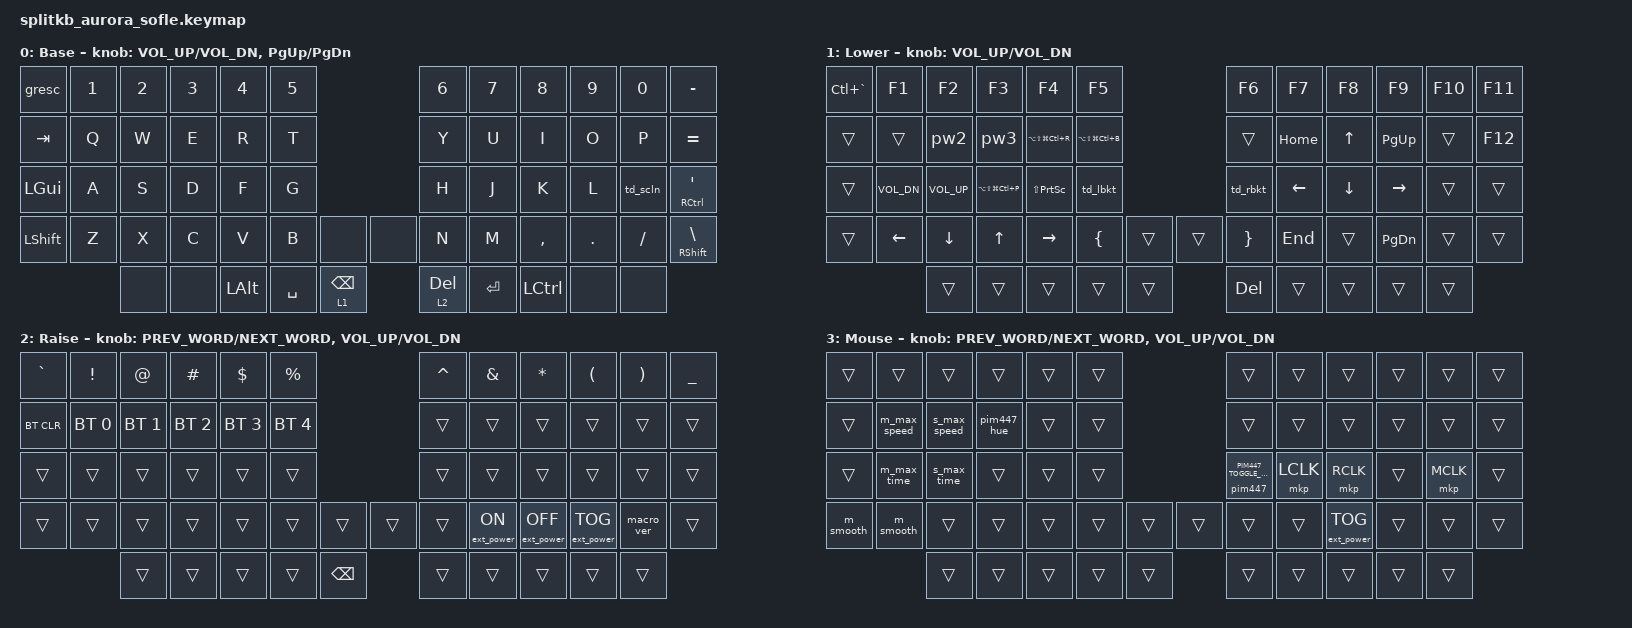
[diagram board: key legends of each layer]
/*
 * Copyright (c) 2023 The ZMK Contributors
 *
 * SPDX-License-Identifier: MIT
 */

#include <behaviors.dtsi>
#include <dt-bindings/zmk/keys.h>
#include <dt-bindings/zmk/bt.h>
#include <dt-bindings/zmk/ext_power.h>

// #include "mouse.dtsi"

#include <dt-bindings/zmk/mouse.h>

#include <behaviors/mouse_keys.dtsi>
#include <behaviors/mouse_move.dtsi>

#include <behaviors/behavior_pim447.dtsi>
#include <dt-bindings/behavior_pim447.h>

#include "pwmacro.dtsi"

#define TAPPING_TERM_MS 200 // how long a key must be pressed to trigger hold behavior.

&lt {
    tapping-term-ms = <TAPPING_TERM_MS>;
};

&mt {
    tapping-term-ms = <TAPPING_TERM_MS>;
    flavor = "tap-preferred";
};

#define F_TERM LC(GRAVE) // hotkey for terminal in vscode
#define PT_RUN LA(LS(LG(LC(R)))) // powertoys run
#define PT_TERM LA(LS(LG(LC(B)))) // boss key for terminal
#define BW_BOSS LA(LS(LG(LC(P)))) // boss key for bitwarden
#define SX_PRSC LS(PSCRN) // sharex printscreen
#define PREV_WORD LC(LEFT)
#define NEXT_WORD LC(RIGHT)

/ {
    behaviors {

        // no mods: escape 
        // shift: tilde (shift+grave)
        // gui/cmd/win: grave
        // when ctrl is pressed, just send escape


        gresc: grave_escape {
            compatible = "zmk,behavior-mod-morph";
            #binding-cells = <0>;
            bindings = <&kp ESC>, <&gresc_win_taskman>;
            mods = <(MOD_LGUI|MOD_LSFT|MOD_RGUI|MOD_RSFT)>;
            keep-mods = <(MOD_LSFT|MOD_RSFT)>;
        };

        gresc_win_taskman: grave_escape_windows_taskmanager {
            compatible = "zmk,behavior-mod-morph";
            #binding-cells = <0>;
            bindings = <&kp GRAVE>, <&kp ESC>;
            mods = <(MOD_LCTL|MOD_RCTL)>;
            keep-mods = <(MOD_LCTL|MOD_RCTL)>;
        };

        td_scln: td_semicolon_or_colon {
            compatible = "zmk,behavior-tap-dance";
            #binding-cells = <0>;
            tapping-term-ms = <TAPPING_TERM_MS>;
            bindings = <&kp SEMI>, <&kp COLON>;
        };

        td_lbkt: td_left_bracket_or_parenthesis {
            compatible = "zmk,behavior-tap-dance";
            #binding-cells = <0>;
            tapping-term-ms = <TAPPING_TERM_MS>;
            bindings = <&kp LBKT>, <&kp LPAR>;
        };

        td_rbkt: td_right_bracket_or_parenthesis {
            compatible = "zmk,behavior-tap-dance";
            #binding-cells = <0>;
            tapping-term-ms = <TAPPING_TERM_MS>;
            bindings = <&kp RBKT>, <&kp RPAR>;
        };

        // pimoroni trackball stuff
        m_max_speed: pim447_mouse_max_speed {
            compatible = "zmk,behavior-mod-morph";
            #binding-cells = <0>;
            bindings = <&pim447 PIM447_MOUSE_INC_MAX_SPEED>, <&pim447 PIM447_MOUSE_DEC_MAX_SPEED>;
            mods = <(MOD_LSFT)>;
        };

        s_max_speed: pim447_scroll_max_speed {
            compatible = "zmk,behavior-mod-morph";
            #binding-cells = <0>;
            bindings = <&pim447 PIM447_SCROLL_INC_MAX_SPEED>, <&pim447 PIM447_SCROLL_DEC_MAX_SPEED>;
            mods = <(MOD_LSFT)>;
        };

        m_max_time: pim447_mouse_max_time {
            compatible = "zmk,behavior-mod-morph";
            #binding-cells = <0>;
            bindings = <&pim447 PIM447_MOUSE_INC_MAX_TIME>, <&pim447 PIM447_MOUSE_DEC_MAX_TIME>;
            mods = <(MOD_LSFT)>;
        };

        s_max_time: pim447_scroll_max_time {
            compatible = "zmk,behavior-mod-morph";
            #binding-cells = <0>;
            bindings = <&pim447 PIM447_SCROLL_INC_MAX_TIME>, <&pim447 PIM447_SCROLL_DEC_MAX_TIME>;
            mods = <(MOD_LSFT)>;
        };

        m_smooth: pim447_mouse_smoothing_factor {
            compatible = "zmk,behavior-mod-morph";
            #binding-cells = <0>;
            bindings = <&pim447 PIM447_MOUSE_INC_SMOOTHING_FACTOR>, <&pim447 PIM447_MOUSE_DEC_SMOOTHING_FACTOR>;
            mods = <(MOD_LSFT)>;
        };

        s_smooth: pim447_scroll_smoothing_factor {
            compatible = "zmk,behavior-mod-morph";
            #binding-cells = <0>;
            bindings = <&pim447 PIM447_SCROLL_INC_SMOOTHING_FACTOR>, <&pim447 PIM447_SCROLL_DEC_SMOOTHING_FACTOR>;
            mods = <(MOD_LSFT)>;
        };

		pim447_hue: pim447_inc_hue_increment_factor {
			compatible = "zmk,behavior-mod-morph";
			#binding-cells = <0>;
			bindings = <&pim447 PIM447_INC_HUE_INCREMENT_FACTOR>, <&pim447 PIM447_DEC_HUE_INCREMENT_FACTOR>;
			mods = <(MOD_LSFT)>;
		};
    };

    macros {
        samplem: samplem {
            compatible = "zmk,behavior-macro";
            #binding-cells = <0>;
            bindings
                = <&macro_press &kp LSHFT>
                , <&macro_tap &kp Z &kp M &kp K>
                , <&macro_release &kp LSHFT>
                ;
        };

        #include "version.dtsi"
        #ifndef VERSION_MACRO
        macro_ver: macro_ver {
            compatible = "zmk,behavior-macro";
            label = "macro_version";
            #binding-cells = <0>;
            bindings = <&kp RET>;
        };
        #endif
    };

    keymap {
        compatible = "zmk,keymap";

        default_layer {
            display-name = "Base";
// ------------------------------------------------------------------------------------------------------------
// | GRESC |  1  |  2  |  3   |  4   |  5   |                       |  6  |  7  |  8   |  9   |   0   |   -        |
// |  TAB  |  Q  |  W  |  E   |  R   |  T   |                       |  Y  |  U  |  I   |  O   |   P   |   =        |
// |  CTRL |  A  |  S  |  D   |  F   |  G   |                       |  H  |  J  |  K   |  L   |   ;   | LCTRL or ' |
// | SHIFT |  Z  |  X  |  C   |  V   |  B   |   VOL    |  | SCROLL  |  N  |  M  |  ,   |  .   |   /   | LSHFT or \ |
//               | none| none | LALT | SPACT|LOWER/BSP |  |RAISE/DEL| RET | GUI | none | none |
            bindings = <
&gresc    &kp N1 &kp N2    &kp N3   &kp N4   &kp N5                     &kp N6   &kp N7   &kp N8    &kp N9   &kp N0   &kp MINUS
&kp TAB   &kp Q  &kp W     &kp E    &kp R    &kp T                      &kp Y    &kp U    &kp I     &kp O    &kp P    &kp EQUAL
&kp LGUI &kp A  &kp S     &kp D    &kp F    &kp G                      &kp H    &kp J    &kp K     &kp L    &td_scln &mt RCTRL SQT
&kp LSHFT &kp Z  &kp X     &kp C    &kp V    &kp B    &none       &none &kp N    &kp M    &kp COMMA &kp DOT  &kp FSLH &mt RSHFT BSLH
                 &none     &none    &kp LALT &kp SPACE &lt 1 BSPC &lt 2 DEL   &kp RET  &kp LCTRL &none     &none
            >;

            sensor-bindings = <&inc_dec_kp C_VOL_UP C_VOL_DN &inc_dec_kp PG_UP PG_DN>;
            // sensor-bindings = <&inc_dec_msc SCRL_LEFT_ENCODER SCRL_RIGHT_ENCODER &inc_dec_msc SCRL_UP_ENCODER SCRL_DOWN_ENCODER>;
            // sensor-bindings = <&inc_dec_msc SCRL_LEFT SCRL_RIGHT &inc_dec_msc SCRL_UP SCRL_DOWN>;
        };

        lower_layer {
            display-name = "Lower";
// ------------------------------------------------------------------------------------------------------------
// |F_TERM| F1  | F2  |  F3   |  F4   |  F5   |                   |  F6  |  F7  |  F8  | F9  | F10 | F11 |
// |      |     |SCRT2| SCRT3 |PT_RUN |PT_TERM|                   |      | HOME |  UP  |PG_UP|     | F12 |
// |      |VOLD |VOLU |BW_BOSS|SX_PRSC|   [   |                   |  ]   | LEFT | DOWN |RIGHT|     |     |
// |      |LEFT |DOWN |  UP   | RIGHT |   {   |      |     |      |  }   | END  |      |PG_DN|     |     |
//              |     |       |       |       |      |     |      |      |      |      |     |
            bindings = <
&kp F_TERM &kp F1           &kp F2            &kp F3            &kp F4       &kp F5                       &kp F6   &kp F7   &kp F8   &kp F9    &kp F10 &kp F11
&trans     &trans           &pw2              &pw3              &kp PT_RUN   &kp PT_TERM                  &trans   &kp HOME &kp UP   &kp PG_UP &trans  &kp F12
&trans     &kp C_VOL_DN     &kp C_VOL_UP      &kp BW_BOSS       &kp SX_PRSC  &td_lbkt                     &td_rbkt &kp LEFT &kp DOWN &kp RIGHT &trans  &trans
&trans     &kp LEFT         &kp DOWN          &kp UP            &kp RIGHT    &kp LBRC  &trans   &trans    &kp RBRC &kp END  &trans   &kp PG_DN &trans  &trans
                            &trans            &trans            &trans       &trans    &trans   &kp DEL   &trans   &trans   &trans   &trans
            >;

            sensor-bindings = <&inc_dec_kp C_VOL_UP C_VOL_DN>;
        };

        raise_layer {
            display-name = "Raise";
// ------------------------------------------------------------------------------------------------------------
// |   `  |  !         |  @         |  #         |  $        |  %       |                 |  ^      |  &      |  *     |  (      |   )     |   _      |
// |BTCLR |  BT1       |  BT2       |  BT3       | BT4       | BT5      |                 |         |         |        |         |         |          |
// |      |            |            |            |           |          |                 |         |         |        |         |         |          |
// |      |            |            |            |           |          |        | |      |         |         |        |         |         |          |
//                     |            |            |           |          |        | |      |         |         |        |         |
            bindings = <
&kp GRAVE  &kp EXCL     &kp AT       &kp HASH     &kp DOLLAR   &kp PRCNT                   &kp CARET       &kp AMPS          &kp STAR          &kp LPAR             &kp RPAR   &kp UNDER
&bt BT_CLR &bt BT_SEL 0 &bt BT_SEL 1 &bt BT_SEL 2 &bt BT_SEL 3 &bt BT_SEL 4                &trans          &trans            &trans            &trans               &trans     &trans
&trans     &trans       &trans       &trans       &trans       &trans                      &trans          &trans            &trans            &trans               &trans     &trans
&trans     &trans       &trans       &trans       &trans       &trans    &trans    &trans  &trans          &ext_power EP_ON  &ext_power EP_OFF &ext_power EP_TOG    &macro_ver &trans
                        &trans       &trans       &trans       &trans    &kp BSPC  &trans  &trans          &trans            &trans            &trans
            >;

            sensor-bindings = <&inc_dec_kp PREV_WORD NEXT_WORD &inc_dec_kp C_VOL_UP C_VOL_DN>;
        };

        mouse_layer {
            display-name = "Mouse";
// --------------------------------------------------------------------------------------------------------------------------------------------------------------------
// |   `  |  !         |  @         |  #         |  $        |  %       |                                  |  ^      |  &      |  *     |  (      |   )     |   _      |
// |BTCLR |  BT1       |  BT2       |  BT3       | BT4       | BT5      |                                  |         |         |        |         |         |          |
// |      |            |            |            |           |          |                                  |         |         |        |         |         |          |
// |      |            |            |            |           |          |        |                  |      |         |         |        |         |         |          |
//                     |            |            |           |          |        |                  |      |         |         |        |         |
            bindings = <
&trans       &trans       &trans       &trans       &trans       &trans                                        &trans  &trans    &trans         &trans  &trans     &trans
&trans       &m_max_speed &s_max_speed &pim447_hue  &trans       &trans                                        &trans  &trans    &trans         &trans  &trans     &trans
&trans       &m_max_time  &s_max_time  &trans       &trans       &trans                    &pim447 PIM447_TOGGLE_MODE  &mkp LCLK &mkp RCLK      &trans  &mkp MCLK  &trans
&m_smooth    &m_smooth    &trans       &trans       &trans       &trans  &trans                    &trans    &trans  &trans &ext_power EP_TOG   &trans  &trans     &trans
                          &trans       &trans       &trans       &trans  &trans  &trans &trans  &trans    &trans    &trans
            >;

            sensor-bindings = <&inc_dec_kp PREV_WORD NEXT_WORD &inc_dec_kp C_VOL_UP C_VOL_DN>;
        };
    };
};
